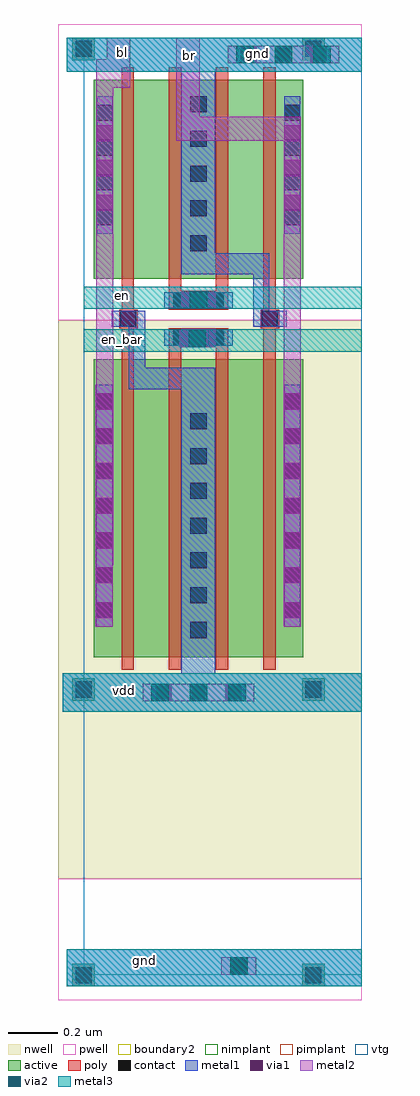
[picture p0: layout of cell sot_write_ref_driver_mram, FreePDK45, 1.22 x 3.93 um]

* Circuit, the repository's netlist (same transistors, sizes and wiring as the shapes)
************************************************************************
* auCdl Netlist:
* 
* Library Name:  openram_sot
* Top Cell Name: sot_write_ref_driver_mram
* View Name:     schematic
* Netlisted on:  Apr 16 14:42:19 2021
************************************************************************

*.EQUATION
*.SCALE METER
*.MEGA
.PARAM



************************************************************************
* Library Name: openram_sot
* Cell Name:    sot_write_ref_driver_mram
* View Name:    schematic
************************************************************************

.SUBCKT sot_write_ref_driver_mram bl br en en_bar gnd vdd
MM20 br gnd net36 gnd NMOS_VTG W=800n L=50n m=1
MM21 net36 en gnd gnd NMOS_VTG W=800n L=50n m=1
MM3 net66 en gnd gnd NMOS_VTG W=800n L=50n m=1
MM0 bl vdd net66 gnd NMOS_VTG W=800n L=50n m=1
MM19 br gnd net040 vdd PMOS_VTG W=1.2u L=50n m=1
MM22 net040 en_bar vdd vdd PMOS_VTG W=1.2u L=50n m=1
MM2 net64 en_bar vdd vdd PMOS_VTG W=1.2u L=50n m=1
MM1 bl vdd net64 vdd PMOS_VTG W=1.2u L=50n m=1
.ENDS

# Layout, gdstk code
from math import pi, radians
import gdstk
lib = gdstk.Library(unit=1e-6, precision=5e-10)
def R(c, l, rs):  # rectangles x0, y0, x1, y1
    for r in rs: c.add(gdstk.rectangle(r[:2], r[2:], *l))
def A(c, l, x, y, w, h, nx, ny, dx, dy):  # array of equal rectangles
    R(c, l, [(x+i*dx, y+j*dy, x+i*dx+w, y+j*dy+h) for i in range(nx) for j in range(ny)])
active = (1, 0)
pwell = (2, 0)
nwell = (3, 0)
nimplant = (4, 0)
pimplant = (5, 0)
vtg = (6, 0)
poly = (9, 0)
contact = (10, 0)
metal1 = (11, 0)
via1 = (12, 0)
metal2 = (13, 0)
via2 = (14, 0)
metal3 = (15, 0)
boundary2 = (239, 0)

m1_poly_cdns_61859852913 = lib.new_cell('M1_POLY_CDNS_618598529130')
R(m1_poly_cdns_61859852913, poly, [(-0.0375,-0.1075,0.0375,0.1075)])
R(m1_poly_cdns_61859852913, contact, [(-0.0325,-0.1025,0.0325,-0.0375), (-0.0325,0.0375,0.0325,0.1025)])
R(m1_poly_cdns_61859852913, metal1, [(-0.0325,-0.1375,0.0325,0.1375)])

m2_m1_cdns_618598529131 = lib.new_cell('M2_M1_CDNS_618598529131')
R(m2_m1_cdns_618598529131, metal1, [(-0.0325,-0.0675,0.0325,0.0675)])
R(m2_m1_cdns_618598529131, via1, [(-0.0325,-0.0325,0.0325,0.0325)])
R(m2_m1_cdns_618598529131, metal2, [(-0.035,-0.0675,0.035,0.0675)])

m2_m1_cdns_618598529132 = lib.new_cell('M2_M1_CDNS_618598529132')
R(m2_m1_cdns_618598529132, metal1, [(-0.0325,-0.2075,0.0325,0.2075)])
A(m2_m1_cdns_618598529132, via1, -0.0325, -0.1725, 0.065, 0.065, 1, 3, 0, 0.14)
R(m2_m1_cdns_618598529132, metal2, [(-0.035,-0.2075,0.035,0.2075)])

c_m1_poly_cdns_61859852913 = lib.new_cell('M1_POLY_CDNS_618598529133')
R(c_m1_poly_cdns_61859852913, poly, [(-0.0375,-0.0375,0.0375,0.0375)])
R(c_m1_poly_cdns_61859852913, contact, [(-0.0325,-0.0325,0.0325,0.0325)])
R(c_m1_poly_cdns_61859852913, metal1, [(-0.0325,-0.0675,0.0325,0.0675)])

m1_n_cdns_618598529134 = lib.new_cell('M1_N_CDNS_618598529134')
R(m1_n_cdns_618598529134, active, [(-0.045,-0.2475,0.045,0.2475)])
R(m1_n_cdns_618598529134, nimplant, [(-0.045,-0.2475,0.045,0.2475)])
A(m1_n_cdns_618598529134, contact, -0.0325, -0.2425, 0.065, 0.065, 1, 4, 0, 0.14)
R(m1_n_cdns_618598529134, metal1, [(-0.0325,-0.2775,0.0325,0.2775)])

m3_m2_cdns_618598529135 = lib.new_cell('M3_M2_CDNS_618598529135')
R(m3_m2_cdns_618598529135, metal2, [(-0.035,-0.225,0.035,0.225)])
A(m3_m2_cdns_618598529135, via2, -0.035, -0.19, 0.07, 0.07, 1, 3, 0, 0.155)
R(m3_m2_cdns_618598529135, metal3, [(-0.035,-0.225,0.035,0.225)])

m3_m2_cdns_618598529136 = lib.new_cell('M3_M2_CDNS_618598529136')
R(m3_m2_cdns_618598529136, metal2, [(-0.035,-0.07,0.035,0.07)])
R(m3_m2_cdns_618598529136, via2, [(-0.035,-0.035,0.035,0.035)])
R(m3_m2_cdns_618598529136, metal3, [(-0.035,-0.07,0.035,0.07)])

m2_m1_cdns_618598529137 = lib.new_cell('M2_M1_CDNS_618598529137')
R(m2_m1_cdns_618598529137, metal1, [(-0.0325,-0.4875,0.0325,0.4875)])
A(m2_m1_cdns_618598529137, via1, -0.0325, -0.4525, 0.065, 0.065, 1, 7, 0, 0.14)
R(m2_m1_cdns_618598529137, metal2, [(-0.035,-0.4875,0.035,0.4875)])

m1_p_cdns_618598529138 = lib.new_cell('M1_P_CDNS_618598529138')
R(m1_p_cdns_618598529138, active, [(-0.045,-0.4575,0.045,0.4575)])
R(m1_p_cdns_618598529138, pimplant, [(-0.045,-0.4575,0.045,0.4575)])
A(m1_p_cdns_618598529138, contact, -0.0325, -0.4525, 0.065, 0.065, 1, 7, 0, 0.14)
R(m1_p_cdns_618598529138, metal1, [(-0.0325,-0.4875,0.0325,0.4875)])

m1_n_cdns_618598529139 = lib.new_cell('M1_N_CDNS_618598529139')
R(m1_n_cdns_618598529139, active, [(-0.045,-0.3175,0.045,0.3175)])
R(m1_n_cdns_618598529139, nimplant, [(-0.045,-0.3175,0.045,0.3175)])
A(m1_n_cdns_618598529139, contact, -0.0325, -0.3125, 0.065, 0.065, 1, 5, 0, 0.14)
R(m1_n_cdns_618598529139, metal1, [(-0.0325,-0.3475,0.0325,0.3475)])

sot_write_ref_driver_mra = lib.new_cell('sot_write_ref_driver_mram')
R(sot_write_ref_driver_mra, active, [(-0.045,0,0.045,0.09), (0.88,0,0.97,0.09), (-0.045,1.15,0.045,1.24), (0.88,1.15,0.97,1.24), (0.04,1.325,0.885,1.995), (0.04,1.995,0.885,2.525), (0.04,2.85,0.885,3.32), (0.04,3.32,0.885,3.65), (-0.045,3.73,0.045,3.82), (0.88,3.73,0.97,3.82)])
R(sot_write_ref_driver_mra, pwell, [(-0.1025,-0.055,1.12,0.4325), (-0.1025,2.6825,1.12,3.875)])
R(sot_write_ref_driver_mra, nwell, [(-0.1025,0.4325,1.12,2.6825)])
R(sot_write_ref_driver_mra, nimplant, [(-0.045,1.15,0.045,1.24), (0.88,1.15,0.97,1.24), (0.04,2.85,0.885,3.65)])
R(sot_write_ref_driver_mra, pimplant, [(-0.045,0,0.045,0.09), (0.88,0,0.97,0.09), (0.04,1.325,0.885,2.525), (-0.045,3.73,0.045,3.82), (0.88,3.73,0.97,3.82)])
R(sot_write_ref_driver_mra, vtg, [(0,0.0475,1.12,3.82)])
R(sot_write_ref_driver_mra, poly, [(0.1525,1.275,0.2025,3.7), (0.3425,1.275,0.3925,2.65), (0.5325,1.275,0.5825,2.65), (0.7225,1.275,0.7725,3.7), (0.3425,2.725,0.3925,3.7), (0.5325,2.725,0.5825,3.7)])
R(sot_write_ref_driver_mra, contact, [(-0.0325,0.0125,0.0325,0.0775), (0.8925,0.0125,0.9575,0.0775), (-0.0325,1.1625,0.0325,1.2275), (0.8925,1.1625,0.9575,1.2275), (-0.0325,3.7425,0.0325,3.8075), (0.8925,3.7425,0.9575,3.8075)])
R(sot_write_ref_driver_mra, metal1, [(-0.0675,0,1.12,0.15), (-0.085,1.105,1.12,1.26), (0.3925,1.14,0.53,2.49), (0.1825,2.405,0.52,2.49), (0.1825,2.4125,0.2475,2.72), (0.6825,2.655,0.7475,2.9525), (0.3925,2.8675,0.53,3.7825), (0.41,2.8675,0.7475,2.9525), (-0.0675,3.6825,1.12,3.82)])
R(sot_write_ref_driver_mra, metal2, [(0.05,1.695,0.12,3.7325), (0.805,1.695,0.875,3.1925), (0.3725,3.405,0.875,3.5025), (0.3725,3.435,0.4675,3.82), (0.0925,3.6175,0.1875,3.82)])
R(sot_write_ref_driver_mra, metal3, [(-0.0675,0,1.12,0.15), (-0.085,1.105,1.12,1.26), (0,2.555,1.12,2.645), (0,2.7275,1.12,2.8175), (-0.0675,3.6825,1.12,3.82)])
R(sot_write_ref_driver_mra, boundary2, [(0,0,1.12,3.82)])
sot_write_ref_driver_mra.add(gdstk.Reference(m1_poly_cdns_61859852913, (0.4625,2.7625), rotation=pi/2))
sot_write_ref_driver_mra.add(gdstk.Reference(m1_poly_cdns_61859852913, (0.4625,2.6125), rotation=pi/2))
sot_write_ref_driver_mra.add(gdstk.Reference(m2_m1_cdns_618598529131, (0.465,2.7625), rotation=pi/2))
sot_write_ref_driver_mra.add(gdstk.Reference(m2_m1_cdns_618598529131, (0.4625,2.6125), rotation=pi/2))
sot_write_ref_driver_mra.add(gdstk.Reference(m2_m1_cdns_618598529131, (0.6275,0.0825), rotation=pi/2))
sot_write_ref_driver_mra.add(gdstk.Reference(m2_m1_cdns_618598529132, (0.84,3.295)))
sot_write_ref_driver_mra.add(gdstk.Reference(m2_m1_cdns_618598529132, (0.805,3.7525), rotation=pi/2))
sot_write_ref_driver_mra.add(gdstk.Reference(m2_m1_cdns_618598529132, (0.085,3.295)))
sot_write_ref_driver_mra.add(gdstk.Reference(m2_m1_cdns_618598529132, (0.4625,1.1825), rotation=pi/2))
sot_write_ref_driver_mra.add(gdstk.Reference(c_m1_poly_cdns_61859852913, (0.18,2.6875), rotation=pi/2))
sot_write_ref_driver_mra.add(gdstk.Reference(c_m1_poly_cdns_61859852913, (0.75,2.6875), rotation=pi/2))
sot_write_ref_driver_mra.add(gdstk.Reference(m1_n_cdns_618598529134, (0.84,3.3075)))
sot_write_ref_driver_mra.add(gdstk.Reference(m1_n_cdns_618598529134, (0.085,3.3075)))
sot_write_ref_driver_mra.add(gdstk.Reference(m3_m2_cdns_618598529135, (0.4625,1.1825), rotation=pi/2))
sot_write_ref_driver_mra.add(gdstk.Reference(m3_m2_cdns_618598529135, (0.805,3.7525), rotation=pi/2))
sot_write_ref_driver_mra.add(gdstk.Reference(m3_m2_cdns_618598529136, (0.4575,2.6075), rotation=pi/2))
sot_write_ref_driver_mra.add(gdstk.Reference(m3_m2_cdns_618598529136, (0.4625,2.7625), rotation=pi/2))
sot_write_ref_driver_mra.add(gdstk.Reference(m3_m2_cdns_618598529136, (0.625,0.0825), rotation=pi/2))
sot_write_ref_driver_mra.add(gdstk.Reference(m2_m1_cdns_618598529137, (0.0825,1.935)))
sot_write_ref_driver_mra.add(gdstk.Reference(m2_m1_cdns_618598529137, (0.84,1.935)))
sot_write_ref_driver_mra.add(gdstk.Reference(m1_p_cdns_618598529138, (0.4625,1.855)))
sot_write_ref_driver_mra.add(gdstk.Reference(m1_p_cdns_618598529138, (0.085,1.935)))
sot_write_ref_driver_mra.add(gdstk.Reference(m1_p_cdns_618598529138, (0.84,1.935)))
sot_write_ref_driver_mra.add(gdstk.Reference(m1_n_cdns_618598529139, (0.4625,3.2725)))
sot_write_ref_driver_mra.add(gdstk.Label('gnd', (0.245,0.105), layer=11, texttype=0))
sot_write_ref_driver_mra.add(gdstk.Label('vdd', (0.1625,1.1925), layer=11, texttype=0))
sot_write_ref_driver_mra.add(gdstk.Label('gnd', (0.7,3.755), layer=11, texttype=0))
sot_write_ref_driver_mra.add(gdstk.Label('bl', (0.155,3.76), layer=13, texttype=0))
sot_write_ref_driver_mra.add(gdstk.Label('br', (0.425,3.7475), layer=13, texttype=0))
sot_write_ref_driver_mra.add(gdstk.Label('en_bar', (0.155,2.605), layer=15, texttype=0))
sot_write_ref_driver_mra.add(gdstk.Label('en', (0.155,2.7825), layer=15, texttype=0))

lib.write_gds('sot_write_ref_driver_mram.gds')
